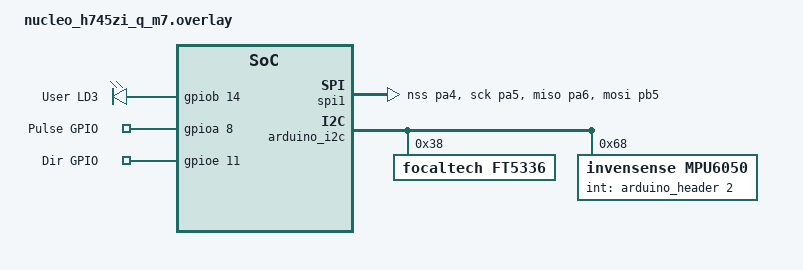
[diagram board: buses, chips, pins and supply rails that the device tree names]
/*
 *
 * SPDX-License-Identifier: Apache-2.0
 */
 / {
	leds {
		compatible = "gpio-leds";
		red_led: led_3 {
			gpios = <&gpiob 14 GPIO_ACTIVE_HIGH>;
			label = "User LD3";
		};
	};

	gpio_keys {
		compatible = "gpio-keys";
		pulse_gpio: pulse_gpio {
			gpios = <&gpioa 8 GPIO_ACTIVE_HIGH>; /* D6 */
			label = "Pulse GPIO";
		};
		dir_gpio: dir_gpio {
			gpios = <&gpioe 11 GPIO_ACTIVE_HIGH>; /* D5 */
			label = "Dir GPIO";
		};
	};
	aliases {
		// led0 = &green_led;
		led1 = &yellow_led;
		led2 = &red_led;
		pulse = &pulse_gpio;
        dir = &dir_gpio;
	};
};

&spi1 {
    pinctrl-0 = <&spi1_nss_pa4 &spi1_sck_pa5
                 &spi1_miso_pa6 &spi1_mosi_pb5>;
    status = "okay";
};
arduino_spi: &spi1 {};
&arduino_spi {
    cs-gpios = < &arduino_header 0x10 0x1 >, < &arduino_header 0xc 0x1 >;
	ili9340@0 {
		rotation = < 0x10E >;
	};
};


&arduino_i2c {
	status = "okay";
	touch_controller: ft5336@38 {
		compatible = "focaltech,ft5336";
		reg = <0x38>;
		label = "FT5336";
		/* Uncomment if IRQ line is available (requires to solder jumper) */
		/* int-gpios = <&arduino_header 13 GPIO_ACTIVE_LOW>; */ /* D7 */
	};

	mpu6050@68 {
		compatible = "invensense,mpu6050";
		reg = <0x68>;
		status = "okay";
		label = "MPU6050";
		int-gpios = <&arduino_header 2 GPIO_ACTIVE_HIGH>; /* D7 */
	};
};
